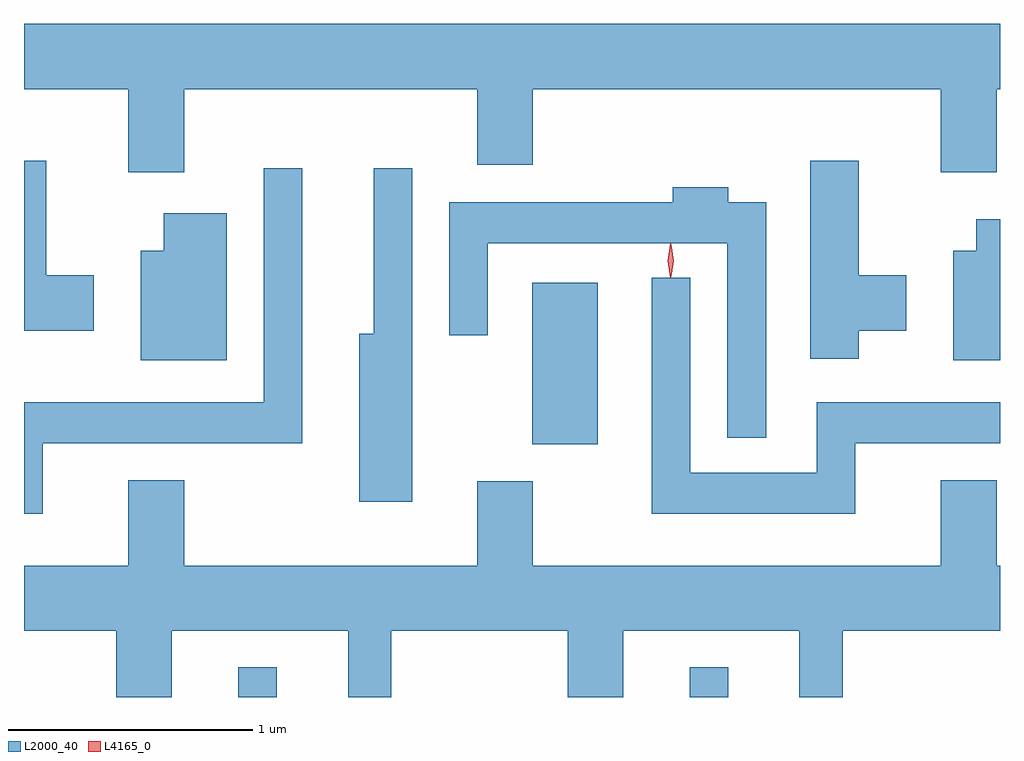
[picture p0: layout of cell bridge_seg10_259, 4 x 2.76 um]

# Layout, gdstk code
import gdstk
lib = gdstk.Library(unit=1e-6, precision=1e-09)
def R(c, l, rs):  # rectangles x0, y0, x1, y1
    for r in rs: c.add(gdstk.rectangle(r[:2], r[2:], *l))
def P(c, l, *ps):  # polygons
    for p in ps: c.add(gdstk.Polygon(p, *l))
L2000_40 = (2000, 40)
L4165_0 = (4165, 0)

bridge_seg10_259 = lib.new_cell('bridge_seg10_259')
R(bridge_seg10_259, L2000_40, [(1818.381,2100.325,1818.539,2100.448), (1820.231,2100.325,1820.389,2100.448), (1819.586,2101.361,1819.854,2102.024)])
P(bridge_seg10_259, L2000_40, [(1818.159,2102.816),(1819.361,2102.816),(1819.361,2102.506),(1819.589,2102.506),(1819.589,2102.816),(1821.261,2102.816),(1821.261,2102.476),(1821.489,2102.476),(1821.489,2102.816),(1821.503,2102.816),(1821.503,2103.084),(1817.503,2103.084),(1817.503,2102.816),(1817.931,2102.816),(1817.931,2102.476),(1818.159,2102.476)],
  [(1820.924,2101.826),(1821.119,2101.826),(1821.119,2102.054),(1820.924,2102.054),(1820.924,2102.524),(1820.726,2102.524),(1820.726,2101.711),(1820.924,2101.711)],
  [(1817.789,2102.054),(1817.594,2102.054),(1817.594,2102.524),(1817.503,2102.524),(1817.503,2101.826),(1817.789,2101.826)],
  [(1817.579,2101.366),(1818.644,2101.366),(1818.644,2102.493),(1818.486,2102.493),(1818.486,2101.534),(1817.503,2101.534),(1817.503,2101.076),(1817.579,2101.076)],
  [(1819.094,2102.493),(1818.936,2102.493),(1818.936,2101.814),(1818.876,2101.814),(1818.876,2101.126),(1819.094,2101.126)],
  [(1820.544,2102.354),(1820.389,2102.354),(1820.389,2102.414),(1820.161,2102.414),(1820.161,2102.354),(1819.246,2102.354),(1819.246,2101.808),(1819.404,2101.808),(1819.404,2102.186),(1820.386,2102.186),(1820.386,2101.388),(1820.544,2101.388)],
  [(1818.334,2102.309),(1818.076,2102.309),(1818.076,2102.154),(1817.981,2102.154),(1817.981,2101.706),(1818.334,2101.706)],
  [(1821.503,2102.284),(1821.406,2102.284),(1821.406,2102.154),(1821.311,2102.154),(1821.311,2101.706),(1821.503,2101.706)],
  [(1820.909,2101.366),(1821.503,2101.366),(1821.503,2101.534),(1820.751,2101.534),(1820.751,2101.244),(1820.234,2101.244),(1820.234,2102.043),(1820.076,2102.043),(1820.076,2101.076),(1820.909,2101.076)],
  [(1817.931,2100.864),(1817.503,2100.864),(1817.503,2100.596),(1817.881,2100.596),(1817.881,2100.325),(1818.109,2100.325),(1818.109,2100.596),(1818.831,2100.596),(1818.831,2100.325),(1819.009,2100.325),(1819.009,2100.596),(1819.731,2100.596),(1819.731,2100.325),(1819.959,2100.325),(1819.959,2100.596),(1820.681,2100.596),(1820.681,2100.325),(1820.859,2100.325),(1820.859,2100.596),(1821.503,2100.596),(1821.503,2100.864),(1821.489,2100.864),(1821.489,2101.214),(1821.261,2101.214),(1821.261,2100.864),(1819.589,2100.864),(1819.589,2101.209),(1819.361,2101.209),(1819.361,2100.864),(1818.159,2100.864),(1818.159,2101.214),(1817.931,2101.214)])
P(bridge_seg10_259, L4165_0, [(1820.155,2102.047),(1820.154,2102.048),(1820.145,2102.114),(1820.154,2102.18),(1820.155,2102.181),(1820.155,2102.18),(1820.165,2102.114),(1820.155,2102.048)],
  [(1820.152,2102.044),(1820.152,2102.044),(1820.142,2102.113),(1820.152,2102.182),(1820.152,2102.183),(1820.153,2102.182),(1820.162,2102.113),(1820.153,2102.044)])

lib.write_gds('bridge_seg10_259.gds')
